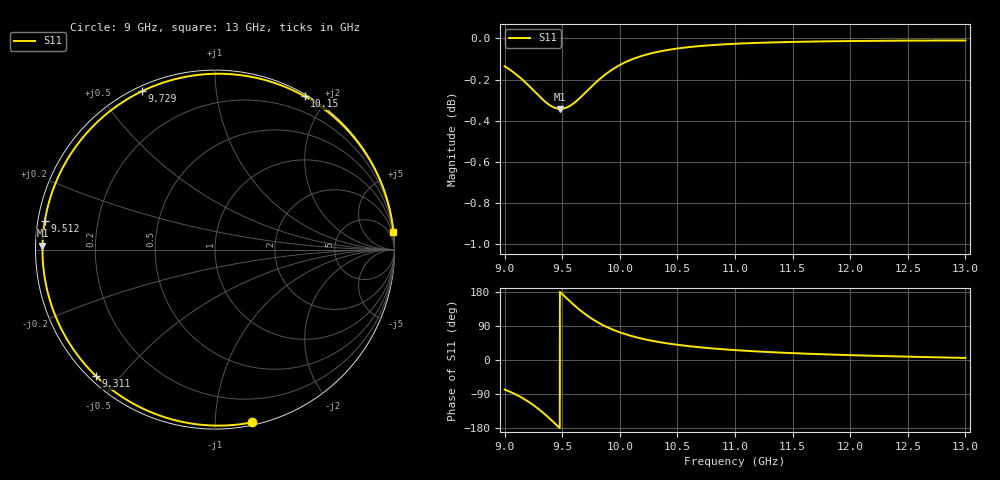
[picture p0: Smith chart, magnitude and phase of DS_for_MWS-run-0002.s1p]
! TOUCHSTONE file generated by CST DESIGN STUDIO
! Date and time: Tue Feb  4 17:46:11 2025
! Project name: C:\Work\MatlabApps\UnitCellOptimizationMatlab\CST\unitcell.cst
! Tree item: Tasks\Sweep1\SPara1\S-Parameters
! Header version: 2024
! Port assignment regex: !\s*Touchstone port\s*([0-9]+)\s*=\s*(CST MWS port|CST DES external port|CST DES block port)\s*(.+)\s* \(\"(.*)\"\)(\s*mode\s*([0-9]+))?.*
! Touchstone port assignment:
! Touchstone port 1 = CST DES external port 1 ("")
# GHz S MA R 50
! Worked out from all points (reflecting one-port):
!   4001 points, 9 GHz to 13 GHz, reference 50 ohm
!   lowest |S11| = -0.3 dB at 9.484 GHz (marker M1), VSWR 50.73, Z = 0.986 + j0.584 ohm
!   phase of S11 starts at -78 deg and turns -277 deg over the sweep
!   S11 on the Smith chart (normalised r, x): 9 GHz: 0.02, -1.24; 9.311 GHz: 0.02, -0.43; 9.512 GHz: 0.02, +0.08; 9.729 GHz: 0.02, +0.64; 10.15 GHz: 0.02, +1.74; 13 GHz: 0, +21
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9  0.9845 -77.9
9.078  0.9812 -88.2
9.177  0.9759 -104.4
9.246  0.9716 -118.2
9.311  0.9675 -133.3
9.357  0.9649 -145.2
9.405  0.9628 -158.4
9.445  0.9617 -169.9
9.484  0.9613 178.7
9.5  0.9614 174.0
9.512  0.9615 170.5
9.564  0.9628 155.5
9.624  0.9656 139.3
9.676  0.9686 126.5
9.729  0.9718 114.7
9.784  0.9752 103.8
9.844  0.9785 93.5
9.921  0.9822 82.4
10  0.9852 73.0
10.146  0.9893 59.7
10.306  0.9922 49.2
10.5  0.9944 40.1
10.722  0.9959 32.7
11  0.997 26.1
11.5  0.998 18.1
12  0.9985 12.8
12.5  0.9987 8.8
13  0.9988 5.5
